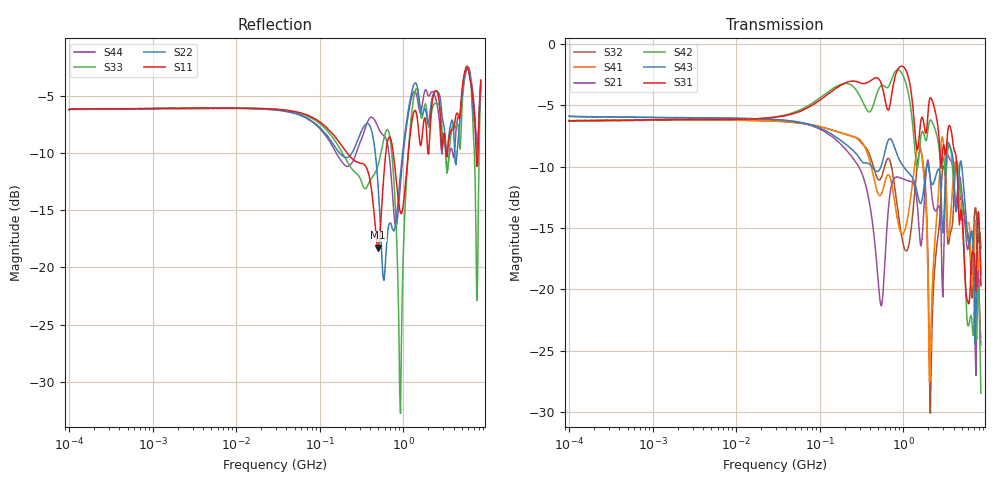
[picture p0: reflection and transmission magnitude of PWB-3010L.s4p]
# MHz S MA R 50
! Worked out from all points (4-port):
!   498 points, 100 kHz to 8.5 GHz, reference 50 ohm
!   strongest paths, dB at 100 kHz, 1.698 MHz, 29.49 MHz, 500.7 MHz, 8.5 GHz:
!     S31: -6.3, -6.2, -6.0, -2.8, -19.7
!     S43: -5.9, -6.0, -6.1, -10.4, -18.8
!     S42: -6.2, -6.2, -5.9, -3.8, -28.5
!     S21: -5.9, -6.0, -6.2, -19.3, -24.6
!     S41: -6.3, -6.2, -6.3, -12.2, -23.9
!     S32: -6.2, -6.2, -6.3, -11.0, -16.7
!   lowest |S11| = -18.3 dB at 500.7 MHz (marker M1), VSWR 1.28, Z = 57.8 - j10.7 ohm
!   |S11| at or under -10 dB: 212.4 MHz to 619.2 MHz (406.8 MHz wide, 97.8 % of centre); 758.8 MHz to 1.149 GHz (389.7 MHz wide, 40.9 % of centre); 7.469 GHz to 7.843 GHz (373.7 MHz wide, 4.88 % of centre)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
0.1  0.4898 3.5  0.5092 -3.6  0.4861 3.9  0.485 -176.3
     0.5092 -3.6  0.4864 3.7  0.4872 -176.6  0.4884 3.4
     0.4861 3.9  0.4872 -176.6  0.4887 3.3  0.509 -3.6
     0.485 -176.3  0.4884 3.4  0.509 -3.6  0.4884 3.5
500.661  0.1218 -48.3  0.1086 95.4  0.7255 -56.2  0.2448 -38.3
         0.1086 95.4  0.2261 -100.8  0.2809 -29.5  0.6484 -46.3
         0.7255 -56.2  0.2809 -29.5  0.2801 -43.1  0.303 131.4
         0.2448 -38.3  0.6484 -46.3  0.303 131.4  0.4087 -58.9
927.5539  0.1734 -96.7  0.2847 -21.2  0.8118 -99.0  0.1716 138.6
          0.2847 -21.2  0.2572 -41.2  0.1756 170.5  0.774 -112.4
          0.8118 -99.0  0.1756 170.5  0.02305 -69.8  0.3307 -29.1
          0.1716 138.6  0.774 -112.4  0.3307 -29.1  0.2333 -56.8
1139.211  0.3067 -83.9  0.277 -72.7  0.7435 -137.4  0.1989 56.5
          0.277 -72.7  0.4746 -72.6  0.1467 86.5  0.6407 -149.7
          0.7435 -137.4  0.1467 86.5  0.3043 -52.9  0.3003 -81.6
          0.1989 56.5  0.6407 -149.7  0.3003 -81.6  0.457 -80.0
4484.409  0.4706 -9.0  0.2569 -33.9  0.2695 -132.9  0.2906 -57.4
          0.2569 -33.9  0.3395 0.8  0.3107 -39.5  0.3238 -138.6
          0.2695 -132.9  0.3107 -39.5  0.424 -20.4  0.2306 -21.8
          0.2906 -57.4  0.3238 -138.6  0.2306 -21.8  0.4482 -0.8
6920.76  0.5205 -165.2  0.1259 40.1  0.1396 39.0  0.1245 78.8
         0.1259 40.1  0.4477 -158.5  0.1558 114.3  0.06468 -3.7
         0.1396 39.0  0.1558 114.3  0.3802 -178.7  0.1401 67.1
         0.1245 78.8  0.06468 -3.7  0.1401 67.1  0.5486 -162.4
8500  0.6579 -47.8  0.05899 -109.9  0.1035 -141.2  0.06361 -111.1
      0.05899 -109.9  0.6225 -36.9  0.147 -106.5  0.03761 78.8
      0.1035 -141.2  0.147 -106.5  0.6114 -43.4  0.1143 -102.5
      0.06361 -111.1  0.03761 78.8  0.1143 -102.5  0.65 -38.9
